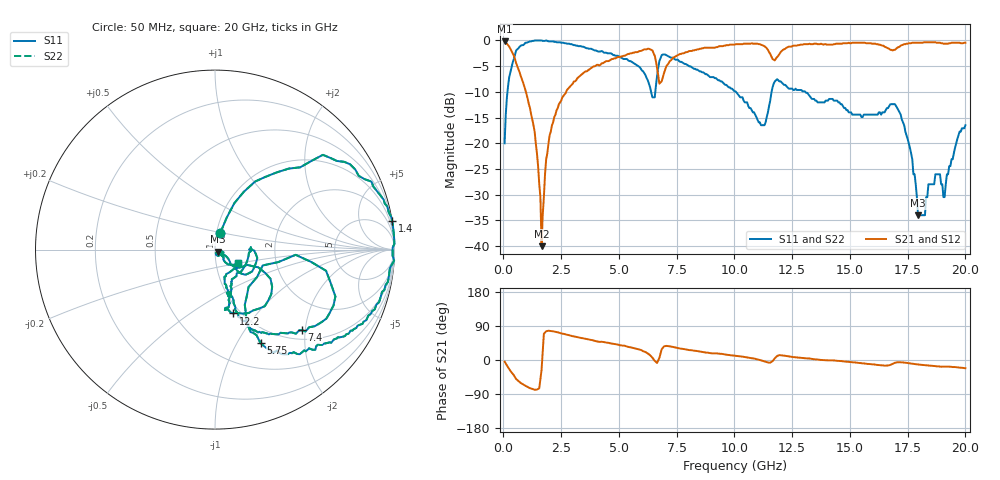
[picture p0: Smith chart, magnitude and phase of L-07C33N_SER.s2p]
#	mhz	s	ma	r	50
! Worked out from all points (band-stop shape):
!   400 points, 50 MHz to 20 GHz, reference 50 ohm
!   highest |S21| = -0.18 dB at 50 MHz (marker M1); lowest = -40.0 dB at 1.65 GHz (marker M2)
!   |S21| within 3 dB of the highest: 7.419 GHz to 11.61 GHz (4.189 GHz wide, 44 % of centre); 11.86 GHz to end of sweep (the widest 2 of 4)
!   lowest |S11| = -34.0 dB at 17.95 GHz (marker M3), VSWR 1.04, Z = 51.7 - j1.14 ohm
!   |S11| at or under -10 dB: 6.392 GHz to 6.574 GHz (182.4 MHz wide, 2.81 % of centre); 10.07 GHz to 11.61 GHz (1.54 GHz wide, 14.2 % of centre); 13.07 GHz to end of sweep (the widest 3 of 4)
!   |S22| runs from -34.0 to 0.0 dB; largest |S21 - S12| = 0
!   S11 on the Smith chart (normalised r, x): 50 MHz: 1.04, +0.20; 1.4 GHz: 0, +12; 5.75 GHz: 0.80, -1.26; 7.4 GHz: 1.20, -1.92; 12.2 GHz: 0.93, -0.76; 20 GHz: 1.28, -0.20
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50  0.1 72.3  0.98 -4.3  0.98 -4.3  0.1 72.3
200  0.36 63.5  0.9 -19.4  0.9 -19.4  0.36 63.5
550  0.8 41.3  0.6 -50.3  0.6 -50.3  0.8 41.3
1400  1 9.2  0.1 -78.2  0.1 -78.2  1 9.2
1650  1 1.8  0.01 -26.1  0.01 -26.1  1 1.8
1850  1 -3.5  0.07 76.0  0.07 76.0  1 -3.5
2100  0.98 -9.5  0.15 76.1  0.15 76.1  0.98 -9.5
3400  0.87 -32.9  0.47 57.7  0.47 57.7  0.87 -32.9
5750  0.58 -63.9  0.77 29.8  0.77 29.8  0.58 -63.9
6450  0.28 -48.1  0.8 6.1  0.8 6.1  0.28 -48.1
6700  0.54 -7.3  0.46 -1.3  0.46 -1.3  0.54 -7.3
7400  0.66 -42.9  0.69 33.6  0.69 33.6  0.66 -42.9
10050  0.32 -70.9  0.92 11.0  0.92 11.0  0.32 -70.9
11300  0.15 -46.6  0.88 -3.9  0.88 -3.9  0.15 -46.6
12200  0.37 -74.0  0.83 11.0  0.83 11.0  0.37 -74.0
13350  0.27 -71.5  0.92 3.0  0.92 3.0  0.27 -71.5
16700  0.23 -6.7  0.83 -13.7  0.83 -13.7  0.23 -6.7
17350  0.15 -41.8  0.92 -6.7  0.92 -6.7  0.15 -41.8
17950  0.02 -33.3  0.95 -11.6  0.95 -11.6  0.02 -33.3
18700  0.05 -27.7  0.96 -16.2  0.96 -16.2  0.05 -27.7
19100  0.03 -21.2  0.93 -17.4  0.93 -17.4  0.03 -21.2
20000  0.15 -30.2  0.95 -21.5  0.95 -21.5  0.15 -30.2
